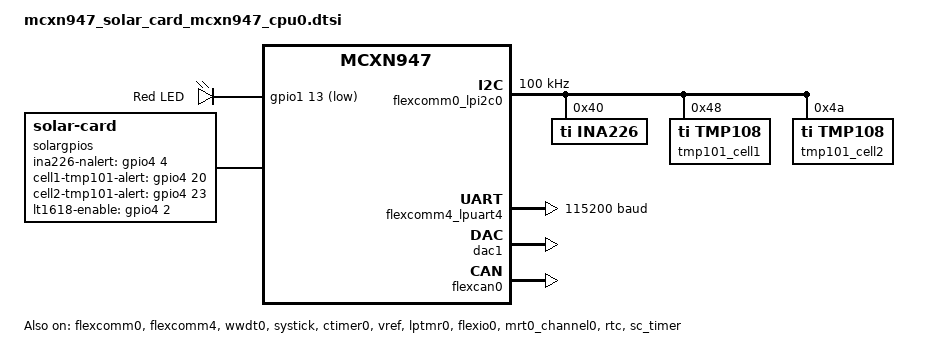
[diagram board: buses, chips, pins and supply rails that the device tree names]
/*
 * Copyright 2024 NXP
 *
 * SPDX-License-Identifier: Apache-2.0
 */

/* Common dts file to enable supported features for CPU 0.
 * This file is included by both the default variant
 * which is run from internal flash and the QSPI variant.
 */
/dts-v1/;

#include <nxp/nxp_mcxn94x.dtsi>
#include <zephyr/dt-bindings/i2c/i2c.h>
#include <zephyr/dt-bindings/gpio/gpio.h>

/ {
	cpus {
		/delete-node/ cpu@1;
	};

	chosen {
		zephyr,sram = &sram0;
		zephyr,flash = &flash;
		zephyr,flash-controller = &fmu;
		zephyr,code-partition = &slot0_partition;
		zephyr,uart-mcumgr = &flexcomm4_lpuart4;
		zephyr,console = &flexcomm4_lpuart4;
		zephyr,shell-uart = &flexcomm4_lpuart4;
		zephyr,canbus = &flexcan0;
		zephyr,code-cpu1-partition = &slot1_partition;
	};

	aliases{
		led0 = &red_led;
		watchdog0 = &wwdt0;
		rtc = &rtc;
	};

	leds {
		compatible = "gpio-leds";
		red_led: led_1 {
			gpios = <&gpio1 13 GPIO_ACTIVE_LOW>;
			label = "Red LED";
			status = "okay";
		};
	};

	solargpios: solar-gpios {
		compatible = "solar-card";
		ina226-nalert-gpios = <&gpio4 4 0>;
		cell1-tmp101-alert-gpios = <&gpio4 20 0>;
		cell2-tmp101-alert-gpios = <&gpio4 23 0>;
		lt1618-enable-gpios = <&gpio4 2 GPIO_ACTIVE_HIGH>;
	};

	zephyr,user {
		dac = <&dac1>;
		dac-channel-id = <1>;
		dac-resolution = <12>;
		status = "okay";
	};
};

&flexcomm0 {
	status = "okay";
};

&flexcomm0_lpi2c0 {
	pinctrl-0 = <&pinmux_flexcomm0_lpi2c>;
	pinctrl-names = "default";
	clock-frequency = <I2C_BITRATE_STANDARD>;
	status = "okay";

	ina226: ina226@40 {
		compatible = "ti,ina226";
		reg = <0x40>;
		current-lsb-microamps = <500>;
		rshunt-micro-ohms = <100000>;
		status = "okay";
	};
	tmp101_cell1: tmp108@48 {
		compatible = "ti,tmp108";
		reg = <0x48>;
		status = "okay";
	};
	tmp101_cell2: tmp108@4a {
		compatible = "ti,tmp108";
		reg = <0x4a>;
		status = "okay";
	};
};

&flexcomm4 {
	status = "okay";
};

&flexcomm4_lpuart4 {
	current-speed = <115200>;
	pinctrl-0 = <&pinmux_flexcomm4_lpuart>;
	pinctrl-names = "default";
	status = "okay";
};

&dac1 {
	pinctrl-0 = <&pinmux_dac1>;
	pinctrl-names = "default";
	status = "okay";
};

&flexcan0 {
	pinctrl-0 = <&pinmux_flexcan0>;
	pinctrl-names = "default";
	status = "okay";
};

/*
 * Default for this board is to allocate SRAM0-5 to cpu0 but the
 * application can have an application specific device tree to
 * allocate the SRAM0-7 differently.
 *
 * For example, SRAM0-6 could be allocated to cpu0 with only SRAM7
 * for cpu1. This would require the value of sram0 to have a DT_SIZE_K
 * of 384. You would have to make updates to cpu1 sram settings as well.
 */
&sram0 {
	compatible = "mmio-sram";
	reg = <0x20000000 DT_SIZE_K(320)>;
};

&sram {
	sramg: memory@20050000 {
		compatible = "mmio-sram";
		reg = <0x20050000 DT_SIZE_K(64)>;
	};
	sramh: memory@20060000 {
		compatible = "mmio-sram";
		reg = <0x20060000 DT_SIZE_K(32)>;
	};
};

&flash {
	partitions {
		compatible = "fixed-partitions";
		#address-cells = <1>;
		#size-cells = <1>;

		/*
		 * Partition sizes must be aligned
		 * to the flash memory sector size of 8KB.
		 */
		boot_partition: partition@0 {
			label = "mcuboot";
			reg = <0x00000000 DT_SIZE_K(80)>;
		};
		slot0_partition: partition@14000 {
			label = "image-0";
			reg = <0x00014000 DT_SIZE_K(984)>;
		};
		slot1_partition: partition@10A000 {
			label = "image-1";
			reg = <0x0010A000 DT_SIZE_K(984)>;
		};
		/* storage_partition is placed in WINBOND flash memory*/
	};
};

&mbox {
	status = "okay";
};

&gpio4 {
	status = "okay";
};

&gpio1 {
	status = "okay";
};

&gpio0 {
	status = "okay";
};

&gpio2 {
	status = "okay";
};

&edma0 {
	status = "okay";
};

&wwdt0 {
	status = "okay";
};

&systick {
	status = "okay";
};

&ctimer0 {
	status = "okay";
};

&vref {
	status = "okay";
};

&lptmr0 {
	status = "okay";
};

&flexio0 {
	status = "okay";
};

&mrt0_channel0 {
	status = "okay";
};

&rtc {
	status = "okay";
};

&sc_timer {
	pinctrl-0 = <&pinmux_sctimer>;
	pinctrl-names = "default";
	status = "okay";
};

&enet {
	status = "disabled";
};
